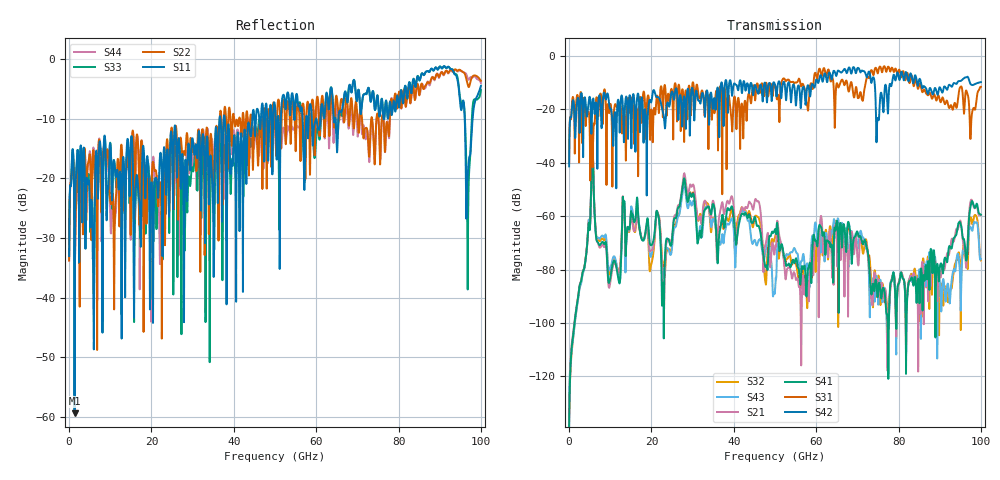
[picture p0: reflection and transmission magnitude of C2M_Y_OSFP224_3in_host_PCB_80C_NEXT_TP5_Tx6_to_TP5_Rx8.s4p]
# GHz S RI R 45
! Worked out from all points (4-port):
!   4000 points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, 25 MHz to 100 GHz, reference 45 ohm
!   strongest paths, dB at 25 MHz, 25.02 GHz, 50.02 GHz, 75.03 GHz, 100 GHz:
!     S42: -41.3, -13.4, -10.8, -23.2, -9.8
!     S31: -40.1, -13.3, -10.9, -6.3, -11.5
!     S41: -139.0, -68.5, -64.9, -88.6, -59.4
!     S21: -139.3, -67.7, -71.9, -83.5, -59.6
!     S43: -130.8, -71.6, -87.8, -91.5, -75.9
!     S32: -135.3, -70.7, -67.6, -82.6, -76.6
!   lowest |S11| = -59.4 dB at 1.35 GHz (marker M1), VSWR 1.00, Z = 44.9 - j0.0541 ohm
!   |S11| at or under -10 dB: start of sweep to 36.53 GHz; 37.83 GHz to 44.49 GHz (6.656 GHz wide, 16.2 % of centre); 96.08 GHz to 98 GHz (1.925 GHz wide, 1.98 % of centre)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
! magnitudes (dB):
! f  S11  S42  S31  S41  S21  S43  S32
! 25 MHz  -33.0  -41.3  -40.1  -139.0  -139.3  -130.8  -135.3
! 1.35 GHz  -59.4  -23.5  -29.9  -99.7  -99.3  -100.7  -100.6
! 5.725 GHz  -30.7  -16.4  -41.7  -38.3  -38.3  -38.2  -38.2
! 9.85 GHz  -15.1  -19.5  -19.8  -84.4  -86.3  -80.0  -81.8
! 27.98 GHz  -28.7  -15.1  -28.8  -45.8  -43.9  -47.8  -45.9
! 52.8 GHz  -6.7  -15.2  -9.1  -78.6  -81.1  -74.2  -76.0
! 100 GHz  -4.5  -9.8  -11.5  -59.4  -59.6  -75.9  -76.6
